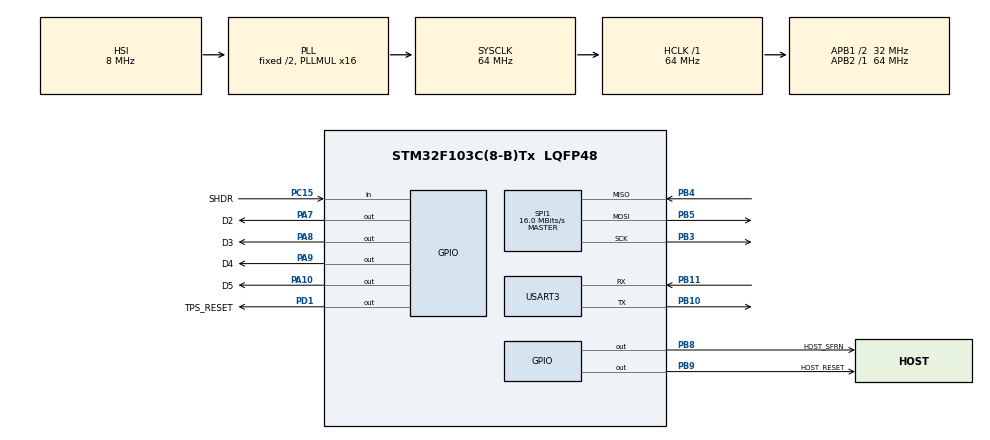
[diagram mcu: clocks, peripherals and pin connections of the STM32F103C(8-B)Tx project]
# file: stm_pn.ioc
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Mcu.Family=STM32F1
Mcu.Name=STM32F103C(8-B)Tx
Mcu.Package=LQFP48
NVIC.PriorityGroup=NVIC_PRIORITYGROUP_4
PA10.GPIO_Label=D5
PA10.Signal=GPIO_Output
PA13.Mode=Serial_Wire
PA13.Signal=SYS_JTMS-SWDIO
PA14.Mode=Serial_Wire
PA14.Signal=SYS_JTCK-SWCLK
PA7.GPIO_Label=D2
PA7.Signal=GPIO_Output
PA8.GPIO_Label=D3
PA8.Signal=GPIO_Output
PA9.GPIO_Label=D4
PA9.Signal=GPIO_Output
PB10.Mode=Asynchronous
PB10.Signal=USART3_TX
PB11.Mode=Asynchronous
PB11.Signal=USART3_RX
PB3.Mode=Full_Duplex_Master
PB3.Signal=SPI1_SCK
PB4.Mode=Full_Duplex_Master
PB4.Signal=SPI1_MISO
PB5.Mode=Full_Duplex_Master
PB5.Signal=SPI1_MOSI
PB8.GPIO_Label=HOST_SFRN
PB8.Signal=GPIO_Output
PB9.GPIO_Label=HOST_RESET
PB9.Signal=GPIO_Output
PC15-OSC32_OUT.GPIO_Label=SHDR
PC15-OSC32_OUT.Signal=GPIO_Input
PD1-OSC_OUT.GPIO_Label=TPS_RESET
PD1-OSC_OUT.Signal=GPIO_Output
ProjectManager.HeapSize=0x200
ProjectManager.StackSize=0x800
ProjectManager.TargetToolchain=MDK-ARM V5
RCC.AHBFreq_Value=64000000
RCC.APB1CLKDivider=RCC_HCLK_DIV2
RCC.APB1Freq_Value=32000000
RCC.APB1TimFreq_Value=64000000
RCC.APB2Freq_Value=64000000
RCC.APB2TimFreq_Value=64000000
RCC.HCLKFreq_Value=64000000
RCC.PLLMUL=RCC_PLL_MUL16
RCC.SYSCLKFreq_VALUE=64000000
RCC.SYSCLKSource=RCC_SYSCLKSOURCE_PLLCLK
RCC.USBFreq_Value=64000000
SPI1.BaudRatePrescaler=SPI_BAUDRATEPRESCALER_4
SPI1.CalculateBaudRate=16.0 MBits/s
SPI1.Direction=SPI_DIRECTION_2LINES
SPI1.Mode=SPI_MODE_MASTER
SPI1.VirtualType=VM_MASTER
USART3.VirtualMode=VM_ASYNC
board=stm_pn

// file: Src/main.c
/**
  ******************************************************************************
  * @file           : main.c
  * @brief          : Main program body
  ******************************************************************************
  ** This notice applies to any and all portions of this file
  * that are not between comment pairs USER CODE BEGIN and
  * USER CODE END. Other portions of this file, whether
  * inserted by the user or by software development tools
  * are owned by their respective copyright owners.
  *
  * COPYRIGHT(c) 2020 STMicroelectronics
  *
  * Redistribution and use in source and binary forms, with or without modification,
  * are permitted provided that the following conditions are met:
  *   1. Redistributions of source code must retain the above copyright notice,
  *      this list of conditions and the following disclaimer.
  *   2. Redistributions in binary form must reproduce the above copyright notice,
  *      this list of conditions and the following disclaimer in the documentation
  *      and/or other materials provided with the distribution.
  *   3. Neither the name of STMicroelectronics nor the names of its contributors
  *      may be used to endorse or promote products derived from this software
  *      without specific prior written permission.
  *
  * THIS SOFTWARE IS PROVIDED BY THE COPYRIGHT HOLDERS AND CONTRIBUTORS "AS IS"
  * AND ANY EXPRESS OR IMPLIED WARRANTIES, INCLUDING, BUT NOT LIMITED TO, THE
  * IMPLIED WARRANTIES OF MERCHANTABILITY AND FITNESS FOR A PARTICULAR PURPOSE ARE
  * DISCLAIMED. IN NO EVENT SHALL THE COPYRIGHT HOLDER OR CONTRIBUTORS BE LIABLE
  * FOR ANY DIRECT, INDIRECT, INCIDENTAL, SPECIAL, EXEMPLARY, OR CONSEQUENTIAL
  * DAMAGES (INCLUDING, BUT NOT LIMITED TO, PROCUREMENT OF SUBSTITUTE GOODS OR
  * SERVICES; LOSS OF USE, DATA, OR PROFITS; OR BUSINESS INTERRUPTION) HOWEVER
  * CAUSED AND ON ANY THEORY OF LIABILITY, WHETHER IN CONTRACT, STRICT LIABILITY,
  * OR TORT (INCLUDING NEGLIGENCE OR OTHERWISE) ARISING IN ANY WAY OUT OF THE USE
  * OF THIS SOFTWARE, EVEN IF ADVISED OF THE POSSIBILITY OF SUCH DAMAGE.
  *
  ******************************************************************************
  */
#include "main.h"
#include "stm32f1xx_hal.h"

SPI_HandleTypeDef hspi1;

UART_HandleTypeDef huart3;

/* USER CODE BEGIN PV */
/* Private variables ---------------------------------------------------------*/
#ifdef __GNUC__
/* With GCC/RAISONANCE, small printf (option LD Linker->Libraries->Small printf set to 'Yes') calls __io_putchar() */
#define PUTCHAR_PROTOTYPE int __io_putchar(int ch)
#else
#define PUTCHAR_PROTOTYPE int fputc(int ch, FILE *f)
#endif /* __GNUC__ */
PUTCHAR_PROTOTYPE
{
  uint8_t temp[1]={ch};
  HAL_UART_Transmit(&huart3,temp,1,2);
  return(ch);
}
/* USER CODE END PV */

void SystemClock_Config(void);
static void MX_GPIO_Init(void);
static void MX_SPI1_Init(void);
static void MX_USART3_UART_Init(void);

/* USER CODE BEGIN PFP */
/* Private function prototypes -----------------------------------------------*/

/* USER CODE END PFP */

/* USER CODE BEGIN 0 */
void ResetTPS1()
{
  HAL_GPIO_WritePin(TPS_RESET_GPIO_Port,TPS_RESET_Pin,GPIO_PIN_RESET);
  HAL_Delay(10);
  HAL_GPIO_WritePin(TPS_RESET_GPIO_Port,TPS_RESET_Pin,GPIO_PIN_SET);
}
void TPS1_GPIO_Init()
{
  HAL_GPIO_WritePin(HOST_SFRN_GPIO_Port,HOST_SFRN_Pin,GPIO_PIN_SET);
  HAL_GPIO_WritePin(TPS_RESET_GPIO_Port,TPS_RESET_Pin,GPIO_PIN_RESET);
  //Reset tps1
  printf("Reset host interface\r\n");
  //Reset host interface
  HAL_GPIO_WritePin(HOST_RESET_GPIO_Port,HOST_RESET_Pin,GPIO_PIN_RESET);
  HAL_Delay(5);
  HAL_GPIO_WritePin(HOST_RESET_GPIO_Port,HOST_RESET_Pin,GPIO_PIN_SET);
  HAL_Delay(5);
  HAL_GPIO_WritePin(HOST_RESET_GPIO_Port,HOST_RESET_Pin,GPIO_PIN_RESET);
  __HAL_SPI_ENABLE(&hspi1);
}
/* USER CODE END 0 */

int main(void)
{

  /* MCU Configuration----------------------------------------------------------*/

  /* Reset of all peripherals, Initializes the Flash interface and the Systick. */
  HAL_Init();

  /* Configure the system clock */
  SystemClock_Config();

  /* Initialize all configured peripherals */
  MX_GPIO_Init();
  MX_SPI1_Init();
  MX_USART3_UART_Init();
  /* USER CODE BEGIN 2 */
  printf("STM32 TPS1 driver init\r\n");
  TPS1_GPIO_Init();
  StartTPS1();
  /* USER CODE END 2 */

  /* Infinite loop */
  while (1)
  {

  }

}

void SystemClock_Config(void)
{

  RCC_OscInitTypeDef RCC_OscInitStruct;
  RCC_ClkInitTypeDef RCC_ClkInitStruct;

    /**Initializes the CPU, AHB and APB busses clocks
    */
  RCC_OscInitStruct.OscillatorType = RCC_OSCILLATORTYPE_HSI;
  RCC_OscInitStruct.HSIState = RCC_HSI_ON;
  RCC_OscInitStruct.HSICalibrationValue = 16;
  RCC_OscInitStruct.PLL.PLLState = RCC_PLL_ON;
  RCC_OscInitStruct.PLL.PLLSource = RCC_PLLSOURCE_HSI_DIV2;
  RCC_OscInitStruct.PLL.PLLMUL = RCC_PLL_MUL16;
  if (HAL_RCC_OscConfig(&RCC_OscInitStruct) != HAL_OK)
  {
    _Error_Handler(__FILE__, __LINE__);
  }

    /**Initializes the CPU, AHB and APB busses clocks
    */
  RCC_ClkInitStruct.ClockType = RCC_CLOCKTYPE_HCLK|RCC_CLOCKTYPE_SYSCLK
                              |RCC_CLOCKTYPE_PCLK1|RCC_CLOCKTYPE_PCLK2;
  RCC_ClkInitStruct.SYSCLKSource = RCC_SYSCLKSOURCE_PLLCLK;
  RCC_ClkInitStruct.AHBCLKDivider = RCC_SYSCLK_DIV1;
  RCC_ClkInitStruct.APB1CLKDivider = RCC_HCLK_DIV2;
  RCC_ClkInitStruct.APB2CLKDivider = RCC_HCLK_DIV1;

  if (HAL_RCC_ClockConfig(&RCC_ClkInitStruct, FLASH_LATENCY_2) != HAL_OK)
  {
    _Error_Handler(__FILE__, __LINE__);
  }

    /**Configure the Systick interrupt time
    */
  HAL_SYSTICK_Config(HAL_RCC_GetHCLKFreq()/1000);

    /**Configure the Systick
    */
  HAL_SYSTICK_CLKSourceConfig(SYSTICK_CLKSOURCE_HCLK);

  /* SysTick_IRQn interrupt configuration */
  HAL_NVIC_SetPriority(SysTick_IRQn, 0, 0);
}

/* SPI1 init function */
static void MX_SPI1_Init(void)
{

  /* SPI1 parameter configuration*/
  hspi1.Instance = SPI1;
  hspi1.Init.Mode = SPI_MODE_MASTER;
  hspi1.Init.Direction = SPI_DIRECTION_2LINES;
  hspi1.Init.DataSize = SPI_DATASIZE_8BIT;
  hspi1.Init.CLKPolarity = SPI_POLARITY_LOW;
  hspi1.Init.CLKPhase = SPI_PHASE_1EDGE;
  hspi1.Init.NSS = SPI_NSS_SOFT;
  hspi1.Init.BaudRatePrescaler = SPI_BAUDRATEPRESCALER_4;
  hspi1.Init.FirstBit = SPI_FIRSTBIT_MSB;
  hspi1.Init.TIMode = SPI_TIMODE_DISABLE;
  hspi1.Init.CRCCalculation = SPI_CRCCALCULATION_DISABLE;
  hspi1.Init.CRCPolynomial = 10;
  if (HAL_SPI_Init(&hspi1) != HAL_OK)
  {
    _Error_Handler(__FILE__, __LINE__);
  }

}

/* USART3 init function */
static void MX_USART3_UART_Init(void)
{

  huart3.Instance = USART3;
  huart3.Init.BaudRate = 115200;
  huart3.Init.WordLength = UART_WORDLENGTH_8B;
  huart3.Init.StopBits = UART_STOPBITS_1;
  huart3.Init.Parity = UART_PARITY_NONE;
  huart3.Init.Mode = UART_MODE_TX_RX;
  huart3.Init.HwFlowCtl = UART_HWCONTROL_NONE;
  huart3.Init.OverSampling = UART_OVERSAMPLING_16;
  if (HAL_UART_Init(&huart3) != HAL_OK)
  {
    _Error_Handler(__FILE__, __LINE__);
  }

}

/** Configure pins as
        * Analog
        * Input
        * Output
        * EVENT_OUT
        * EXTI
*/
static void MX_GPIO_Init(void)
{

  GPIO_InitTypeDef GPIO_InitStruct;

  /* GPIO Ports Clock Enable */
  __HAL_RCC_GPIOC_CLK_ENABLE();
  __HAL_RCC_GPIOD_CLK_ENABLE();
  __HAL_RCC_GPIOA_CLK_ENABLE();
  __HAL_RCC_GPIOB_CLK_ENABLE();

  /*Configure GPIO pin Output Level */
  HAL_GPIO_WritePin(TPS_RESET_GPIO_Port, TPS_RESET_Pin, GPIO_PIN_RESET);

  /*Configure GPIO pin Output Level */
  HAL_GPIO_WritePin(GPIOA, D2_Pin|D3_Pin|D4_Pin|D5_Pin, GPIO_PIN_RESET);

  /*Configure GPIO pin Output Level */
  HAL_GPIO_WritePin(GPIOB, HOST_SFRN_Pin|HOST_RESET_Pin, GPIO_PIN_RESET);

  /*Configure GPIO pin : SHDR_Pin */
  GPIO_InitStruct.Pin = SHDR_Pin;
  GPIO_InitStruct.Mode = GPIO_MODE_INPUT;
  GPIO_InitStruct.Pull = GPIO_NOPULL;
  HAL_GPIO_Init(SHDR_GPIO_Port, &GPIO_InitStruct);

  /*Configure GPIO pin : TPS_RESET_Pin */
  GPIO_InitStruct.Pin = TPS_RESET_Pin;
  GPIO_InitStruct.Mode = GPIO_MODE_OUTPUT_PP;
  GPIO_InitStruct.Speed = GPIO_SPEED_FREQ_LOW;
  HAL_GPIO_Init(TPS_RESET_GPIO_Port, &GPIO_InitStruct);

  /*Configure GPIO pins : D2_Pin D3_Pin D4_Pin D5_Pin */
  GPIO_InitStruct.Pin = D2_Pin|D3_Pin|D4_Pin|D5_Pin;
  GPIO_InitStruct.Mode = GPIO_MODE_OUTPUT_PP;
  GPIO_InitStruct.Speed = GPIO_SPEED_FREQ_LOW;
  HAL_GPIO_Init(GPIOA, &GPIO_InitStruct);

  /*Configure GPIO pins : HOST_SFRN_Pin HOST_RESET_Pin */
  GPIO_InitStruct.Pin = HOST_SFRN_Pin|HOST_RESET_Pin;
  GPIO_InitStruct.Mode = GPIO_MODE_OUTPUT_PP;
  GPIO_InitStruct.Speed = GPIO_SPEED_FREQ_LOW;
  HAL_GPIO_Init(GPIOB, &GPIO_InitStruct);

  /*Configure peripheral I/O remapping */
  __HAL_AFIO_REMAP_PD01_ENABLE();

}

void _Error_Handler(char *file, int line)
{
  while(1)
  {
  }
}

/************************ (C) COPYRIGHT STMicroelectronics *****END OF FILE****/
